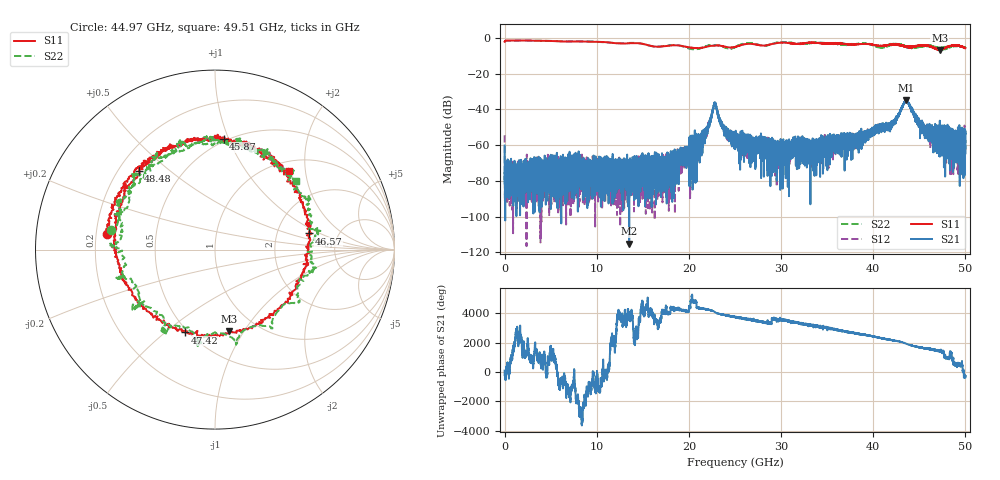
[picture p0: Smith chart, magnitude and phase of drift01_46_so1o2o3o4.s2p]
!Created with skrf (http://scikit-rf.org).
# Hz S RI R 50.0
!freq ReS11 ImS11 ReS21 ImS21 ReS12 ImS12 ReS22 ImS22
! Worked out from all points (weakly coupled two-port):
!   10001 points, 300 kHz to 50 GHz, reference 50 ohm
!   highest |S21| = -34.74 dB at 43.53 GHz (marker M1); lowest = -115.1 dB at 13.52 GHz (marker M2)
!   lowest |S11| = -6.7 dB at 47.22 GHz (marker M3), VSWR 2.71, Z = 37.3 - j43.2 ohm
!   |S11| at or under -10 dB: nowhere
!   |S22| runs from -6.8 to -1.4 dB; largest |S21 - S12| = 0.0041
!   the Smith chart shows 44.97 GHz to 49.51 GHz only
!   S11 on the Smith chart (normalised r, x): 44.97 GHz: 0.25, +0.07; 45.87 GHz: 0.48, +0.96; 46.57 GHz: 3.05, +0.77; 47.42 GHz: 0.48, -0.58; 48.48 GHz: 0.28, +0.39; 49.51 GHz: 1.20, +1.63
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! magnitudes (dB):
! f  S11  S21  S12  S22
! 300 kHz  -2.1  -60.1  -54.5  -2.1
! 325.3 MHz  -1.4  -75.7  -75.7  -1.4
! 8.335 GHz  -2.0  -78.8  -82.3  -1.8
! 13.52 GHz  -3.0  -115.1  -74.3  -2.7
! 16.67 GHz  -4.8  -70.0  -68.4  -4.8
! 20.7 GHz  -5.6  -58.3  -59.6  -6.3
! 21.89 GHz  -4.9  -54.3  -52.1  -4.5
! 22.8 GHz  -4.3  -36.4  -36.3  -4.0
! 23.75 GHz  -4.7  -50.2  -49.9  -5.0
! 25 GHz  -5.0  -52.6  -57.9  -5.1
! 29.42 GHz  -2.9  -59.5  -61.8  -2.8
! 33.34 GHz  -2.6  -66.0  -63.4  -2.7
! 41.67 GHz  -3.9  -48.8  -49.1  -4.6
! 43.53 GHz  -4.8  -34.7  -35.6  -4.7
! 44.97 GHz  -4.4  -47.6  -47.1  -4.6
! 45.87 GHz  -4.2  -50.2  -51.4  -4.3
! 46.57 GHz  -5.5  -51.7  -50.7  -4.6
! 47.22 GHz  -6.7  -46.7  -50.7  -5.8
! 47.42 GHz  -6.2  -57.2  -52.4  -5.3
! 48.48 GHz  -4.3  -53.4  -62.0  -4.8
! 49.51 GHz  -4.4  -56.4  -58.7  -4.6
! 50 GHz  -5.7  -53.1  -57.7  -5.4
